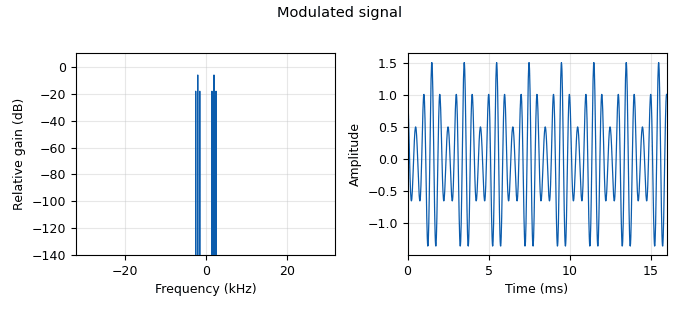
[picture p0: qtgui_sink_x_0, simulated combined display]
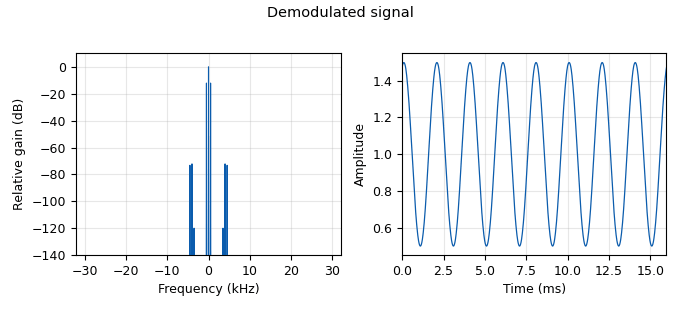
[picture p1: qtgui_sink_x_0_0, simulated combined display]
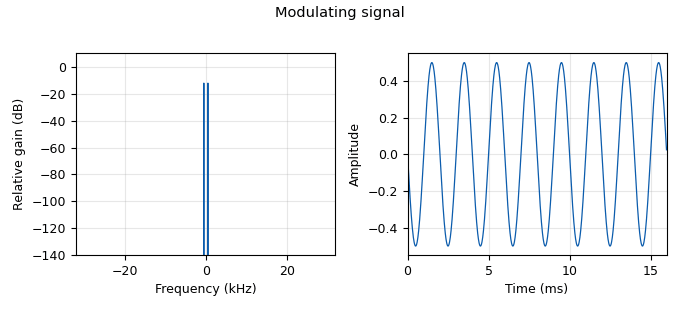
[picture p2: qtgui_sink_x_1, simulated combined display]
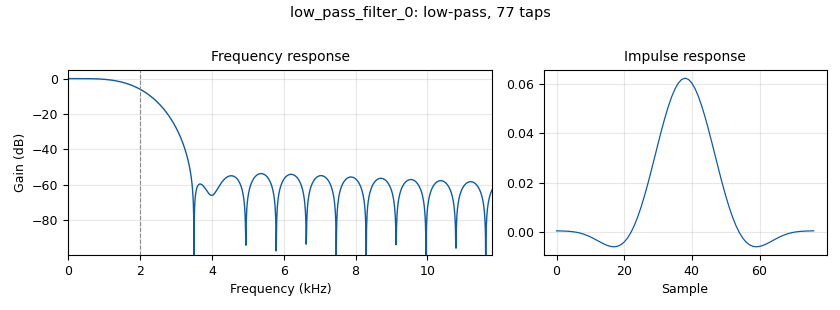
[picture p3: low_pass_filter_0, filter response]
options:
  parameters:
    author: D.M.T.K.R Dassanayake
    generate_options: qt_gui
    id: default
    output_language: python
    title: AM modulator
  states: {}

blocks:
- name: Low_pass_filter
  id: variable_qtgui_range
  parameters:
    label: Low Pass Filter
    start: '1000'
    step: '1'
    stop: '10000'
    value: '2000'
  states: {}
- name: carrier_frequncy
  id: variable_qtgui_range
  parameters:
    label: Carrier Frequncy
    start: '500'
    step: '500'
    stop: '32000'
    value: '2000'
  states: {}
- name: mod_index
  id: variable_qtgui_range
  parameters:
    label: Modulation index
    start: '0'
    step: '0.1'
    stop: '1'
    value: '0.5'
  states: {}
- name: modulated_frequncy
  id: variable_qtgui_range
  parameters:
    label: Modulated Frequncy
    start: '500'
    step: '500'
    stop: '10000'
    value: '500'
  states: {}
- name: samp_rate
  id: variable
  parameters:
    value: '64000'
  states: {}
- name: analog_sig_source_x_0
  id: analog_sig_source_x
  parameters:
    amp: '1'
    freq: modulated_frequncy
    offset: '0'
    phase: '0'
    samp_rate: samp_rate
    type: float
    waveform: analog.GR_SIN_WAVE
  states: {}
- name: analog_sig_source_x_0_0
  id: analog_sig_source_x
  parameters:
    amp: '1'
    freq: carrier_frequncy
    offset: '0'
    phase: '0'
    samp_rate: samp_rate
    type: float
    waveform: analog.GR_COS_WAVE
  states: {}
- name: analog_sig_source_x_1
  id: analog_sig_source_x
  parameters:
    amp: '1'
    freq: carrier_frequncy
    offset: '0'
    phase: '0'
    samp_rate: samp_rate
    type: float
    waveform: analog.GR_COS_WAVE
  states: {}
- name: blocks_add_xx_0
  id: blocks_add_xx
  parameters:
    type: float
  states: {}
- name: blocks_multiply_const_vxx_0
  id: blocks_multiply_const_vxx
  parameters:
    const: mod_index
    type: float
  states: {}
- name: blocks_multiply_const_vxx_0_0
  id: blocks_multiply_const_vxx
  parameters:
    const: '2'
    type: float
  states: {}
- name: blocks_multiply_const_vxx_1
  id: blocks_multiply_const_vxx
  parameters:
    const: '1'
    type: float
  states: {}
- name: blocks_multiply_xx_0
  id: blocks_multiply_xx
  parameters:
    type: float
  states: {}
- name: blocks_multiply_xx_0_0
  id: blocks_multiply_xx
  parameters:
    type: float
  states: {}
- name: low_pass_filter_0
  id: low_pass_filter
  parameters:
    cutoff_freq: Low_pass_filter
    decim: '1'
    gain: '1'
    samp_rate: samp_rate
    type: fir_filter_fff
    width: '2000'
    win: window.WIN_HAMMING
  states: {}
- name: note_0
  id: note
  parameters:
    note: why when increase the carrier frequncy why modulated signal is not correctly showing
  states: {}
- name: qtgui_sink_x_0
  id: qtgui_sink_x
  parameters:
    bw: samp_rate
    fc: '0'
    fftsize: '1024'
    name: Modulated signal
    type: float
    wintype: window.WIN_RECTANGULAR
  states: {}
- name: qtgui_sink_x_0_0
  id: qtgui_sink_x
  parameters:
    bw: samp_rate
    fc: '0'
    fftsize: '1024'
    name: Demodulated signal
    type: float
    wintype: window.WIN_RECTANGULAR
  states: {}
- name: qtgui_sink_x_1
  id: qtgui_sink_x
  parameters:
    bw: samp_rate
    fc: '0'
    fftsize: '1024'
    name: Modulating signal
    type: float
    wintype: window.WIN_RECTANGULAR
  states: {}

connections:
- [analog_sig_source_x_0, '0', blocks_multiply_const_vxx_0, '0']
- [analog_sig_source_x_0_0, '0', blocks_multiply_const_vxx_0_0, '0']
- [analog_sig_source_x_1, '0', blocks_multiply_const_vxx_1, '0']
- [analog_sig_source_x_1, '0', blocks_multiply_xx_0, '1']
- [blocks_add_xx_0, '0', blocks_multiply_xx_0_0, '0']
- [blocks_add_xx_0, '0', qtgui_sink_x_0, '0']
- [blocks_multiply_const_vxx_0, '0', blocks_multiply_xx_0, '0']
- [blocks_multiply_const_vxx_0, '0', qtgui_sink_x_1, '0']
- [blocks_multiply_const_vxx_0_0, '0', blocks_multiply_xx_0_0, '1']
- [blocks_multiply_const_vxx_1, '0', blocks_add_xx_0, '1']
- [blocks_multiply_xx_0, '0', blocks_add_xx_0, '0']
- [blocks_multiply_xx_0_0, '0', low_pass_filter_0, '0']
- [low_pass_filter_0, '0', qtgui_sink_x_0_0, '0']

metadata:
  file_format: 1
